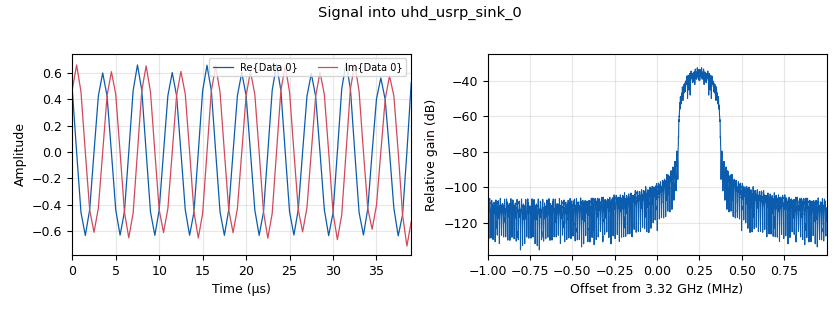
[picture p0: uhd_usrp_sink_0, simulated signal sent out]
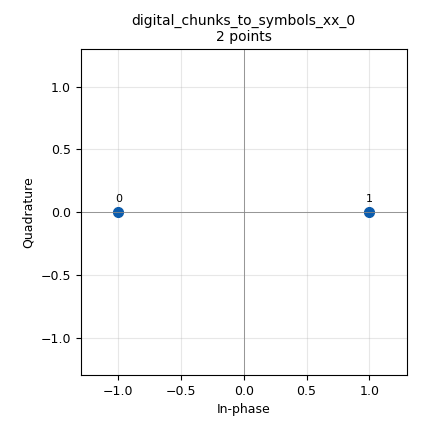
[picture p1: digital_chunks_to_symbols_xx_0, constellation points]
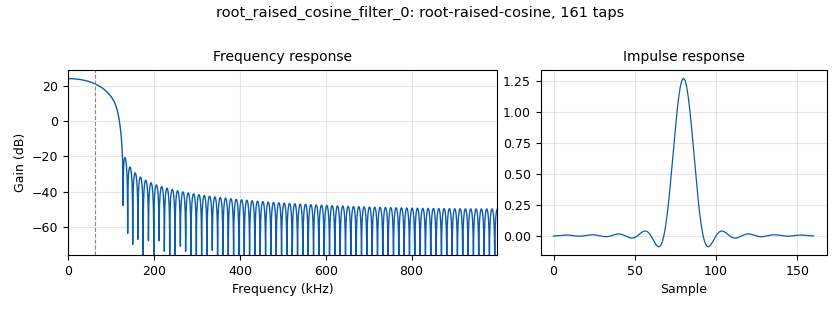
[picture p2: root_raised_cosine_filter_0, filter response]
options:
  parameters:
    author: Ozgur Ozdemir
    description: Channel Sounder Transmitter with offset freq
    generate_options: no_gui
    id: CSwSNRTX
    output_language: python
    title: CSwSNRTX
  states: {}

blocks:
- name: alpha
  id: variable
  parameters:
    value: '0.99'
  states: {}
- name: analog_sig_source_x_0
  id: analog_sig_source_x
  parameters:
    amp: '1'
    freq: offset
    offset: '0'
    phase: '0'
    samp_rate: samp_rate
    type: complex
    waveform: analog.GR_COS_WAVE
  states: {}
- name: args
  id: parameter
  parameters:
    type: str
    value: ''
  states: {}
- name: blocks_multiply_const_vxx_0
  id: blocks_multiply_const_vxx
  parameters:
    const: 1/1.58
    type: complex
  states: {}
- name: blocks_multiply_xx_0
  id: blocks_multiply_xx
  parameters:
    type: complex
  states: {}
- name: channel
  id: parameter
  parameters:
    comment: |-
      0 - Port A
      1 - Port B
    type: intx
    value: '0'
  states: {}
- name: digital_chunks_to_symbols_xx_0
  id: digital_chunks_to_symbols_xx
  parameters:
    dimension: '1'
    in_type: byte
    out_type: complex
    symbol_table: (-1,1)
  states: {}
- name: digital_glfsr_source_x_0
  id: digital_glfsr_source_x
  parameters:
    degree: '12'
    mask: '0'
    repeat: 'True'
    seed: '1'
    type: byte
  states: {}
- name: freq
  id: parameter
  parameters:
    type: eng_float
    value: 3.32e9
  states: {}
- name: gaintx
  id: parameter
  parameters:
    type: eng_float
    value: '76'
  states: {}
- name: interp_fir_filter_xxx_0
  id: interp_fir_filter_xxx
  parameters:
    interp: sps
    taps: '[1]+[0]*(sps-1)'
    type: ccc
  states: {}
- name: offset
  id: parameter
  parameters:
    type: eng_float
    value: 250e3
  states: {}
- name: root_raised_cosine_filter_0
  id: root_raised_cosine_filter
  parameters:
    alpha: alpha
    decim: '1'
    gain: sps
    ntaps: 10*sps+1
    samp_rate: samp_rate
    sym_rate: samp_rate/sps
    type: fir_filter_ccf
  states: {}
- name: samp_rate
  id: parameter
  parameters:
    type: eng_float
    value: 2e6
  states: {}
- name: sps
  id: parameter
  parameters:
    type: intx
    value: '16'
  states: {}
- name: uhd_usrp_sink_0
  id: uhd_usrp_sink
  parameters:
    ant0: TX/RX
    center_freq0: freq
    dev_args: args
    gain0: gaintx
    len_tag_name: ''
    samp_rate: samp_rate
    stream_chans: '[0]'
    sync: sync
    type: fc32
  states: {}
- name: virtual_sink_0
  id: virtual_sink
  parameters:
    stream_id: stream1
  states: {}
- name: virtual_sink_0_0
  id: virtual_sink
  parameters:
    stream_id: stream2
  states: {}
- name: virtual_source_0
  id: virtual_source
  parameters:
    stream_id: stream1
  states: {}
- name: virtual_source_0_0
  id: virtual_source
  parameters:
    stream_id: stream2
  states: {}

connections:
- [analog_sig_source_x_0, '0', blocks_multiply_xx_0, '1']
- [blocks_multiply_const_vxx_0, '0', uhd_usrp_sink_0, '0']
- [blocks_multiply_xx_0, '0', virtual_sink_0_0, '0']
- [digital_chunks_to_symbols_xx_0, '0', interp_fir_filter_xxx_0, '0']
- [digital_glfsr_source_x_0, '0', digital_chunks_to_symbols_xx_0, '0']
- [interp_fir_filter_xxx_0, '0', virtual_sink_0, '0']
- [root_raised_cosine_filter_0, '0', blocks_multiply_xx_0, '0']
- [virtual_source_0, '0', root_raised_cosine_filter_0, '0']
- [virtual_source_0_0, '0', blocks_multiply_const_vxx_0, '0']

metadata:
  file_format: 1
